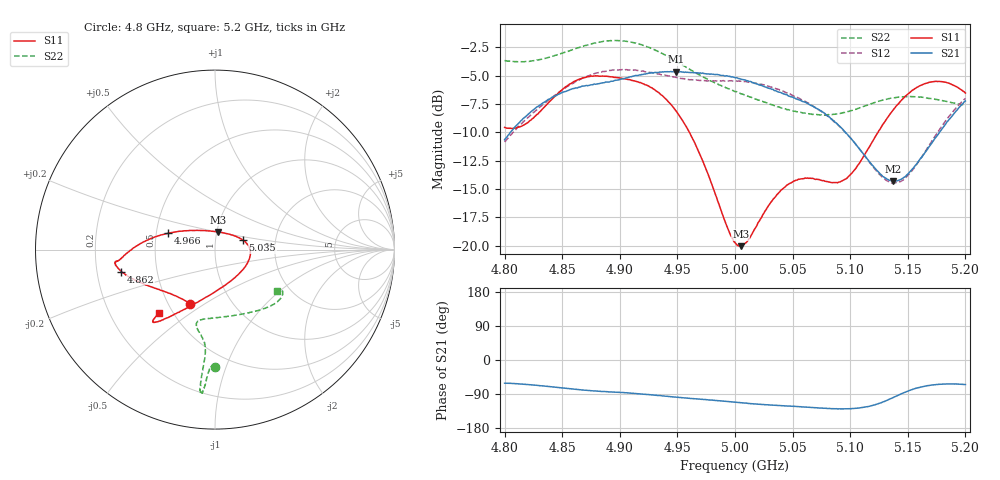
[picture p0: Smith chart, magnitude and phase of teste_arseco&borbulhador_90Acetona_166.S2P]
! Network Analyzer HP8722D
! Hewlett-Packard
! Data name: Linha & Wilkinson
! Saver's name: Rodrigo Anjos
! Comments: Teste da utilização de aquisição
! continua pelo VNA HP8722D
! Time and date: 17/4/2025 12:26
!  Frequency  S11  S21  S12  S22
# HZ  S  MA R 50
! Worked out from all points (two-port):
!   401 points, 4.8 GHz to 5.2 GHz, reference 50 ohm
!   highest |S21| = -4.62 dB at 4.949 GHz (marker M1); lowest = -14.3 dB at 5.137 GHz (marker M2)
!   |S21| within 3 dB of the highest: 4.83 GHz to 5.066 GHz (236 MHz wide, 4.77 % of centre); 5.196157 GHz to end of sweep
!   lowest |S11| = -20.0 dB at 5.005 GHz (marker M3), VSWR 1.22, Z = 50.6 + j10.1 ohm
!   |S11| at or under -10 dB: 4.96 GHz to 5.124 GHz (163.6 MHz wide, 3.24 % of centre)
!   |S22| runs from -8.5 to -1.9 dB; largest |S21 - S12| = 0.88
!   S11 on the Smith chart (normalised r, x): 4.8 GHz: 0.64, -0.44; 4.862 GHz: 0.31, -0.10; 4.966 GHz: 0.58, +0.11; 5.035 GHz: 1.36, +0.15; 5.2 GHz: 0.42, -0.38
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4.8e9  0.3329 -114.3  0.2936 -61.2  0.2873 -175.4  0.6564 -90.0
4.819e9  0.3471 -134.3  0.3746 -64.5  0.3633 -174.2  0.6511 -91.7
4.862e9  0.5356 -166.8  0.4978 -77.5  0.5315 -177.4  0.743 -94.0
4.867e9  0.5482 -168.7  0.5062 -79.3  0.5467 -178.2  0.7583 -94.3
4.898e9  0.5521 -173.2  0.5386 -85.1  0.5963 175.5  0.8049 -95.5
4.934e9  0.4736 -179.4  0.5827 -93.9  0.5734 171.6  0.7164 -96.1
4.949e9  0.3925 173.2  0.5873 -97.9  0.5541 171.9  0.6505 -95.7
4.966e9  0.2775 160.9  0.5801 -102.4  0.539 173.5  0.5791 -95.3
5e9  0.1033 98.0  0.5522 -111.5  0.5336 175.8  0.4785 -99.5
5.005e9  0.09959 80.8  0.544 -112.8  0.5325 175.7  0.4686 -100.7
5.012e9  0.107 58.5  0.5314 -114.6  0.5274 175.7  0.4555 -102.2
5.035e9  0.1642 18.7  0.4834 -119.5  0.4949 174.5  0.414 -103.7
5.051e9  0.1929 2.5  0.4502 -122.3  0.4578 174.0  0.3925 -99.4
5.067e9  0.1984 -14.6  0.4146 -125.3  0.416 173.4  0.38 -90.8
5.087e9  0.19 -46.6  0.3498 -128.7  0.3488 173.5  0.3808 -75.5
5.097e9  0.1983 -67.4  0.312 -128.9  0.312 174.4  0.3895 -67.3
5.134e9  0.3776 -117.6  0.1944 -103.7  0.191 -156.6  0.4463 -43.1
5.137e9  0.3954 -119.4  0.1928 -99.6  0.1894 -151.8  0.4493 -41.9
5.15e9  0.4667 -125.2  0.2071 -82.2  0.2042 -131.9  0.4552 -36.9
5.168e9  0.5252 -129.6  0.2715 -67.6  0.2748 -113.6  0.447 -32.5
5.184e9  0.5244 -131.1  0.352 -63.4  0.3631 -107.5  0.433 -31.3
5.2e9  0.472 -131.5  0.4354 -64.8  0.4469 -106.8  0.4163 -33.7
